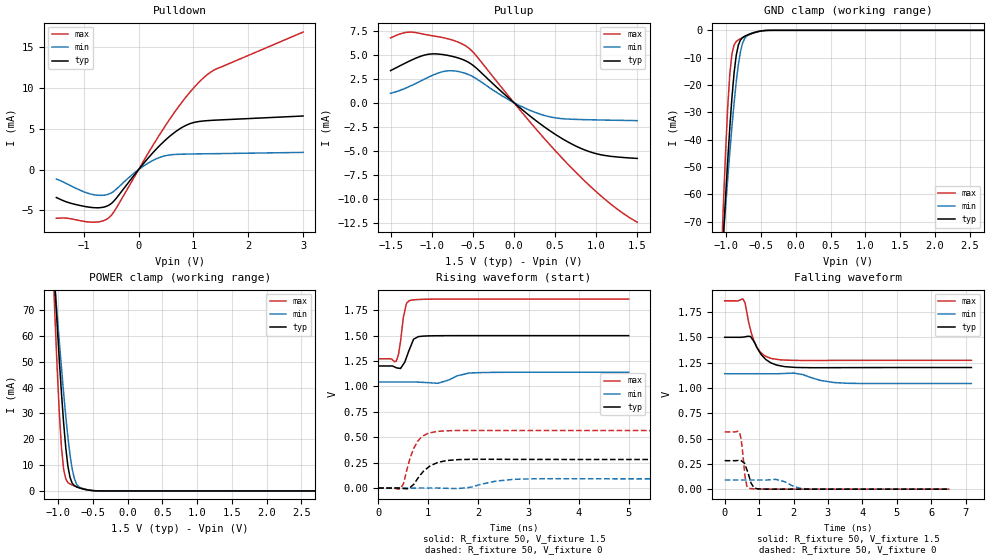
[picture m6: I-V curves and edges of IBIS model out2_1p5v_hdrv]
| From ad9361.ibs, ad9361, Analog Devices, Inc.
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|   Model: output1_1p5v_hdrv
[Model]   out2_1p5v_hdrv
Model_type  3-state
Vref=0
Vmeas=0.75
Rref=1G
Cref=3pF
|variable   typ   min   max
C_comp_pullup   2.391733E-13 1.888095E-14 3.283476E-13
C_comp_pulldown   7.100043E-14 7.062311E-14 9.196148E-14
[C Comp Corner]
C_comp_pullup   2.391733E-13 1.888095E-14 3.283476E-13
C_comp_pulldown   7.062311E-14 7.100043E-14 9.196148E-14
[Temperature Range]   25   85   -40
[Voltage Range]   1.5   1.14   1.86
[Power Clamp Reference] 1.5   1.14   1.86
[GND Clamp Reference]   0   0   0
[Pullup Reference]   1.5   1.14   1.86
[Pulldown Reference]   0   0   0
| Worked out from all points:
|   slope of the pulldown table from 0 to 0.225 V, typ, clamps not added: 125 ohm
|   slope of the pullup table from 0 to 0.225 V, typ, clamps not added: 142 ohm
|   GND clamp passes 1 mA (typ) near -0.62 V on its own axis
|   POWER clamp passes 1 mA (typ) near -0.67 V on its own axis
|   rising waveform, R_fixture 50, V_fixture 1.5: 20-80 % time 140ps typ, 314ps min, 102ps max; typ from 1.2 V to 1.5 V
|   falling waveform, R_fixture 50, V_fixture 1.5: 20-80 % time 403ps typ, 629ps min, 317ps max; typ from 1.5 V to 1.2 V
|   rising waveform, R_fixture 50, V_fixture 0: 20-80 % time 327ps typ, 514ps min, 238ps max; typ from 0 V to 0.281 V
|   falling waveform, R_fixture 50, V_fixture 0: 20-80 % time 164ps typ, 341ps min, 104ps max; typ from 0.281 V to 0 V
[Power clamp]
| Voltage   I(typ)   I(min)   I(max)
-1.5V     315.2mA    253.3mA    416.6mA
-1.071V   92.57mA    89.81mA    86.68mA
-1.041V   78mA       78.87mA    66.08mA
-1.01V    63.89mA    68.15mA    46.88mA
-979.6mV  50.39mA    57.71mA    29.94mA
-949mV    37.76mA    47.61mA    16.67mA
-918.4mV  26.36mA    37.99mA    8.422mA
-887.8mV  16.76mA    28.99mA    4.656mA
-826.5mV  5.248mA    13.94mA    2.684mA
-734.7mV  1.554mA    2.767mA    1.717mA
-551mV    302.9uA    280.6uA    313uA
3V        -277.9pA   -2.353nA   -34.9pA
[GND Clamp]
| Voltage   I(typ)   I(min)   I(max)
-1.5V     -310.6mA   -248.8mA   -412.2mA
-1.071V   -89.35mA   -86.15mA   -83.72mA
-1.041V   -74.95mA   -75.34mA   -63.36mA
-1.01V    -61.03mA   -64.76mA   -44.55mA
-979.6mV  -47.78mA   -54.49mA   -28.26mA
-949mV    -35.47mA   -44.62mA   -15.91mA
-918.4mV  -24.54mA   -35.26mA   -8.594mA
-887.8mV  -15.57mA   -26.62mA   -5.351mA
-826.5mV  -5.408mA   -12.57mA   -3.501mA
-734.7mV  -2.129mA   -2.939mA   -2.338mA
-489.8mV  -207.4uA   -201.8uA   -188.8uA
3V        251.7pA    4.602nA    34.07pA
[Pullup]
| Voltage   I(typ)   I(min)   I(max)
-1.5V     3.332mA    971.2uA    6.736mA
-1.286V   4.259mA    1.62mA     7.331mA
-1.01V    5.062mA    2.761mA    6.985mA
-795.9mV  4.9mA      3.313mA    6.626mA
-551mV    4.189mA    2.916mA    5.692mA
-91.84mV  691.9uA    442uA      966.4uA
153.1mV   -1.099mA   -643.8uA   -1.581mA
398mV     -2.691mA   -1.395mA   -4.006mA
642.9mV   -4.024mA   -1.705mA   -6.283mA
1.01V     -5.334mA   -1.802mA   -9.342mA
1.255V    -5.657mA   -1.84mA    -11.07mA
1.5V      -5.808mA   -1.877mA   -12.44mA
|3.000000   -6.769823E-03   -2.189427E-03   -2.033422E-02
[Pulldown]
| Voltage   I(typ)   I(min)   I(max)
-1.5V     -3.423mA   -1.163mA   -5.975mA
-1.255V   -4.095mA   -1.913mA   -6.015mA
-918.4mV  -4.593mA   -2.915mA   -6.42mA
-704.1mV  -4.672mA   -3.16mA    -6.385mA
-551mV    -4.397mA   -3.021mA   -5.952mA
-428.6mV  -3.691mA   -2.529mA   -4.957mA
0V        -313.8nA   -636.3nA   -151nA
336.7mV   2.616mA    1.362mA    3.79mA
765.3mV   5.06mA     1.884mA    8.043mA
1.133V    5.925mA    1.931mA    10.93mA
1.408V    6.067mA    1.954mA    12.32mA
3V        6.573mA    2.109mA    16.87mA
[Rising Waveform]
R_fixture = 50
V_fixture = 1.5
V_fixture_min = 1.14
V_fixture_max = 1.86
| time   V(typ)   V(min)   V(max)
0s        1.201V     1.044V     1.272V
363.1ps   1.183V     1.044V     1.251V
407.1ps   1.18V      1.044V     1.32V
501.1ps   1.218V     1.044V     1.678V
564.5ps   1.286V     1.044V     1.819V
617.8ps   1.358V     1.044V     1.844V
706ps     1.465V     1.044V     1.852V
894.5ps   1.495V     1.04V      1.858V
1.81ns    1.5V       1.132V     1.86V
4.997ns   1.5V       1.14V      1.86V
[Falling Waveform]
R_fixture = 50
V_fixture = 1.5
V_fixture_min = 1.14
V_fixture_max = 1.86
| time   V(typ)   V(min)   V(max)
0s        1.5V       1.14V      1.86V
532.7ps   1.502V     1.14V      1.877V
589.8ps   1.504V     1.14V      1.842V
751.3ps   1.508V     1.14V      1.573V
933.4ps   1.401V     1.14V      1.404V
1.164ns   1.291V     1.14V      1.316V
1.358ns   1.245V     1.14V      1.29V
1.999ns   1.204V     1.146V     1.272V
3.562ns   1.2V       1.046V     1.272V
7.171ns   1.201V     1.044V     1.272V
[Rising Waveform]
R_fixture = 50
V_fixture = 0
V_fixture_min = 0
V_fixture_max = 0
| time   V(typ)   V(min)   V(max)
0s        -1.462nV   8.894nV    -861pV
452.6ps   -1.233mV   2.533uV    -1.788mV
507.1ps   -4.286mV   1.447uV    47.12mV
609.1ps   -6.28mV    -9.985uV   246.6mV
784.8ps   91.84mV    48.68uV    459.7mV
908.1ps   168.5mV    192.6uV    517mV
1.161ns   245.7mV    150uV      556.5mV
1.83ns    282.2mV    6.68mV     566.7mV
2.707ns   282.2mV    85.91mV    565.8mV
6.828ns   281.2mV    90.35mV    565.7mV
[Falling Waveform]
R_fixture = 50
V_fixture = 0
V_fixture_min = 0
V_fixture_max = 0
| time   V(typ)   V(min)   V(max)
0s        281.3mV    90.43mV    565.7mV
433.1ps   286.4mV    90.43mV    560.6mV
483.9ps   280.3mV    90.43mV    482mV
587.8ps   244.6mV    90.43mV    130.4mV
642.5ps   194.1mV    90.43mV    32.05mV
693ps     144.1mV    90.44mV    10.57mV
850.4ps   14.6mV     90.45mV    3.132mV
1.049ns   1.552mV    90.2mV     876.9uV
2.453ns   -10.74uV   2.394mV    -16.29uV
6.538ns   1.817uV    981.7nV    2.704uV
[Ramp]
| variable   typ   min   max
dV/dt_r  0.168744/3.27E-10   0.054193/5.13E-10   0.339445/2.38E-10
dV/dt_f  0.179114/4.02E-10   0.057661/6.28E-10   0.352533/3.17e-10
R_load = 50
|   End of [Model]: output1_3p3v
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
